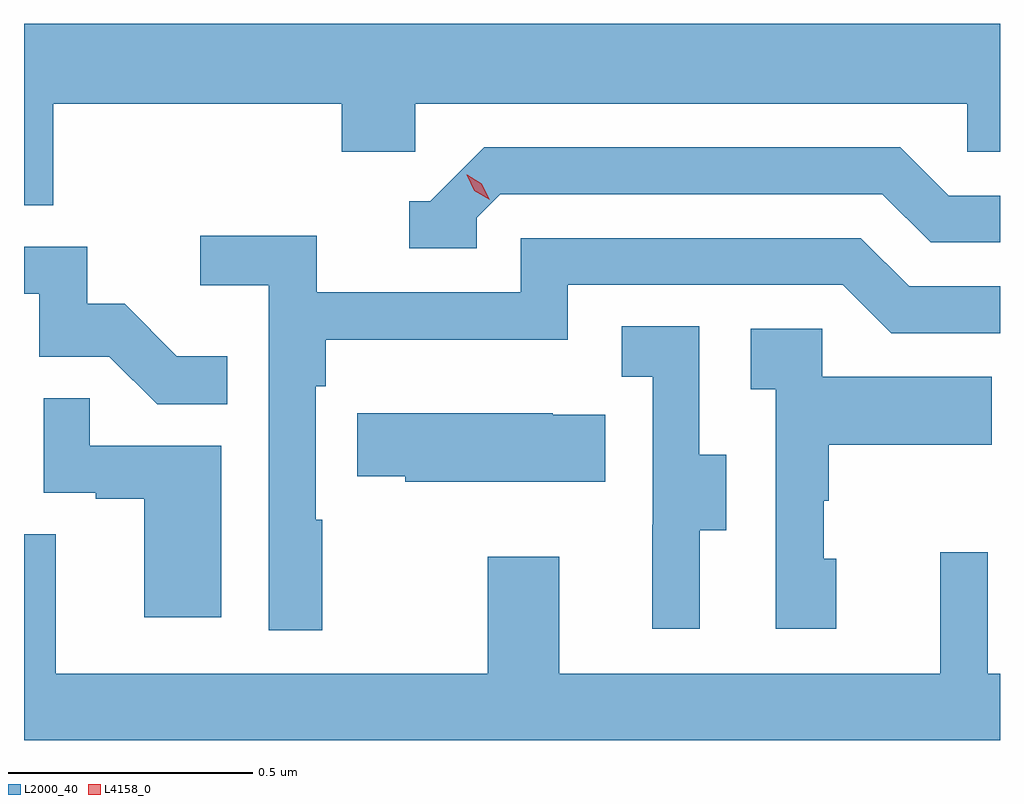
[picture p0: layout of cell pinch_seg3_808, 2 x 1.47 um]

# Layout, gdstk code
import gdstk
lib = gdstk.Library(unit=1e-6, precision=1e-09)
def P(c, l, *ps):  # polygons
    for p in ps: c.add(gdstk.Polygon(p, *l))
L2000_40 = (2000, 40)
L4158_0 = (4158, 0)

pinch_seg3_808 = lib.new_cell('pinch_seg3_808')
P(pinch_seg3_808, L2000_40, [(815.396,727.556),(815.987,727.556),(815.987,727.458),(816.138,727.458),(816.138,727.556),(817.269,727.556),(817.269,727.458),(817.336,727.458),(817.336,727.72),(815.336,727.72),(815.336,727.348),(815.396,727.348)],
  [(816.264,727.323),(816.312,727.371),(817.095,727.371),(817.194,727.272),(817.336,727.272),(817.336,727.368),(817.231,727.368),(817.132,727.467),(816.279,727.467),(816.168,727.356),(816.125,727.356),(816.125,727.26),(816.264,727.26)],
  [(815.947,726.704),(815.934,726.704),(815.934,726.977),(815.954,726.977),(815.954,727.073),(816.45,727.073),(816.45,727.185),(817.014,727.185),(817.113,727.086),(817.336,727.086),(817.336,727.182),(817.15,727.182),(817.051,727.281),(816.354,727.281),(816.354,727.17),(815.936,727.17),(815.936,727.286),(815.697,727.286),(815.697,727.184),(815.838,727.184),(815.838,726.477),(815.947,726.477)],
  [(815.753,727.039),(815.649,727.039),(815.542,727.146),(815.466,727.146),(815.466,727.263),(815.336,727.263),(815.336,727.167),(815.367,727.167),(815.367,727.038),(815.511,727.038),(815.609,726.94),(815.753,726.94)],
  [(816.721,726.682),(816.775,726.682),(816.775,726.837),(816.72,726.837),(816.72,727.1),(816.561,727.1),(816.561,726.997),(816.624,726.997),(816.624,726.693),(816.623,726.693),(816.623,726.48),(816.721,726.48)],
  [(817,726.624),(816.975,726.624),(816.975,726.743),(816.985,726.743),(816.985,726.857),(817.319,726.857),(817.319,726.997),(816.972,726.997),(816.972,727.095),(816.825,727.095),(816.825,726.971),(816.876,726.971),(816.876,726.48),(817,726.48)],
  [(815.74,726.855),(815.471,726.855),(815.471,726.953),(815.376,726.953),(815.376,726.759),(815.483,726.759),(815.483,726.747),(815.582,726.747),(815.582,726.504),(815.74,726.504)],
  [(816.527,726.919),(816.419,726.919),(816.419,726.922),(816.019,726.922),(816.019,726.793),(816.117,726.793),(816.117,726.782),(816.527,726.782)],
  [(817.336,726.388),(817.311,726.388),(817.311,726.637),(817.214,726.637),(817.214,726.388),(816.433,726.388),(816.433,726.628),(816.286,726.628),(816.286,726.388),(815.401,726.388),(815.401,726.674),(815.336,726.674),(815.336,726.252),(817.336,726.252)])
P(pinch_seg3_808, L4158_0, [(816.29,727.359),(816.259,727.378),(816.243,727.411),(816.243,727.411),(816.244,727.411),(816.274,727.392),(816.29,727.359),(816.29,727.359)])

lib.write_gds('pinch_seg3_808.gds')
